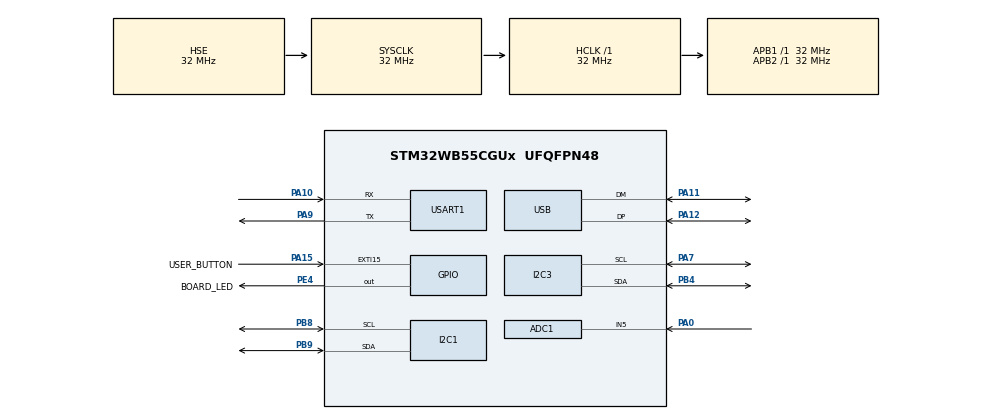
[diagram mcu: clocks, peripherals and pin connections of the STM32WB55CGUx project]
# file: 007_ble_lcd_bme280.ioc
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ADC1.Channel-0\#ChannelRegularConversion=ADC_CHANNEL_5
ADC1.NbrOfConversionFlag=1
ADC1.OffsetNumber-0\#ChannelRegularConversion=ADC_OFFSET_NONE
ADC1.Rank-0\#ChannelRegularConversion=1
ADC1.SamplingTime-0\#ChannelRegularConversion=ADC_SAMPLETIME_2CYCLES_5
ADC1.master=1
Dma.ADC1.0.Direction=DMA_PERIPH_TO_MEMORY
Dma.ADC1.0.EventEnable=DISABLE
Dma.ADC1.0.Instance=DMA1_Channel3
Dma.ADC1.0.MemDataAlignment=DMA_MDATAALIGN_HALFWORD
Dma.ADC1.0.MemInc=DMA_MINC_ENABLE
Dma.ADC1.0.Mode=DMA_CIRCULAR
Dma.ADC1.0.PeriphDataAlignment=DMA_PDATAALIGN_HALFWORD
Dma.ADC1.0.PeriphInc=DMA_PINC_DISABLE
Dma.ADC1.0.Polarity=HAL_DMAMUX_REQ_GEN_RISING
Dma.ADC1.0.Priority=DMA_PRIORITY_LOW
Dma.ADC1.0.RequestNumber=1
Dma.ADC1.0.SignalID=NONE
Dma.ADC1.0.SyncEnable=DISABLE
Dma.ADC1.0.SyncPolarity=HAL_DMAMUX_SYNC_NO_EVENT
Dma.ADC1.0.SyncRequestNumber=1
Dma.ADC1.0.SyncSignalID=NONE
Dma.Request0=ADC1
Dma.Request1=USART1_TX
Dma.USART1_TX.1.Direction=DMA_MEMORY_TO_PERIPH
Dma.USART1_TX.1.EventEnable=DISABLE
Dma.USART1_TX.1.Instance=DMA1_Channel1
Dma.USART1_TX.1.MemDataAlignment=DMA_MDATAALIGN_BYTE
Dma.USART1_TX.1.MemInc=DMA_MINC_ENABLE
Dma.USART1_TX.1.Mode=DMA_NORMAL
Dma.USART1_TX.1.PeriphDataAlignment=DMA_PDATAALIGN_BYTE
Dma.USART1_TX.1.PeriphInc=DMA_PINC_DISABLE
Dma.USART1_TX.1.Polarity=HAL_DMAMUX_REQ_GEN_RISING
Dma.USART1_TX.1.Priority=DMA_PRIORITY_LOW
Dma.USART1_TX.1.RequestNumber=1
Dma.USART1_TX.1.SignalID=NONE
Dma.USART1_TX.1.SyncEnable=DISABLE
Dma.USART1_TX.1.SyncPolarity=HAL_DMAMUX_SYNC_NO_EVENT
Dma.USART1_TX.1.SyncRequestNumber=1
Dma.USART1_TX.1.SyncSignalID=NONE
I2C1.Timing=0x00B07CB4
I2C3.Timing=0x00B07CB4
Mcu.Family=STM32WB
Mcu.Name=STM32WB55CGUx
Mcu.Package=UFQFPN48
NVIC.DMA1_Channel1_IRQn=true\:15\:0\:true\:false\:true\:false\:true\:true
NVIC.DMA1_Channel3_IRQn=true\:0\:0\:false\:false\:true\:false\:true\:true
NVIC.EXTI15_10_IRQn=true\:5\:0\:true\:false\:true\:true\:true\:true
NVIC.HSEM_IRQn=true\:0\:0\:false\:false\:true\:false\:true\:true
NVIC.I2C3_ER_IRQn=true\:0\:0\:false\:false\:true\:true\:true\:true
NVIC.I2C3_EV_IRQn=true\:0\:0\:false\:false\:true\:true\:true\:true
NVIC.IPCC_C1_RX_IRQn=true\:0\:0\:false\:false\:true\:true\:true\:true
NVIC.IPCC_C1_TX_IRQn=true\:0\:0\:false\:false\:true\:true\:true\:true
NVIC.PriorityGroup=NVIC_PRIORITYGROUP_4
NVIC.RTC_WKUP_IRQn=true\:3\:0\:true\:false\:true\:true\:true\:true
NVIC.USART1_IRQn=true\:0\:0\:false\:false\:true\:true\:true\:true
NVIC.USB_LP_IRQn=true\:0\:0\:false\:false\:true\:true\:true\:true
OSC_IN.Mode=HSE-External-Oscillator
OSC_IN.Signal=RCC_OSC_IN
OSC_OUT.Mode=HSE-External-Oscillator
OSC_OUT.Signal=RCC_OSC_OUT
PA0.Signal=ADCx_IN5
PA10.Mode=Asynchronous
PA10.Signal=USART1_RX
PA11.Mode=Device
PA11.Signal=USB_DM
PA12.Mode=Device
PA12.Signal=USB_DP
PA13.Mode=Serial_Wire
PA13.Signal=SYS_JTMS-SWDIO
PA14.Mode=Serial_Wire
PA14.Signal=SYS_JTCK-SWCLK
PA15.GPIO_Label=USER_BUTTON
PA15.GPIO_ModeDefaultEXTI=GPIO_MODE_IT_FALLING
PA15.GPIO_PuPd=GPIO_PULLUP
PA15.Signal=GPXTI15
PA7.Mode=I2C
PA7.Signal=I2C3_SCL
PA9.Mode=Asynchronous
PA9.Signal=USART1_TX
PB4.Mode=I2C
PB4.Signal=I2C3_SDA
PB8.Mode=I2C
PB8.Signal=I2C1_SCL
PB9.Mode=I2C
PB9.Signal=I2C1_SDA
PC14-OSC32_IN.Mode=LSE-External-Oscillator
PC14-OSC32_IN.Signal=RCC_OSC32_IN
PC15-OSC32_OUT.Mode=LSE-External-Oscillator
PC15-OSC32_OUT.Signal=RCC_OSC32_OUT
PE4.GPIO_Label=BOARD_LED
PE4.Signal=GPIO_Output
ProjectManager.HeapSize=0x200
ProjectManager.StackSize=0x400
ProjectManager.TargetToolchain=STM32CubeIDE
RCC.ADCFreq_Value=48000000
RCC.AHBFreq_Value=32000000
RCC.APB1Freq_Value=32000000
RCC.APB1TimFreq_Value=32000000
RCC.APB2Freq_Value=32000000
RCC.APB2TimFreq_Value=32000000
RCC.APB3Freq_Value=16000000
RCC.CK48CLockSelection=RCC_USBCLKSOURCE_HSI48
RCC.CortexFreq_Value=32000000
RCC.HCLKFreq_Value=32000000
RCC.HSE_VALUE=32000000
RCC.HSI48_VALUE=48000000
RCC.HSI_VALUE=16000000
RCC.PLLM=RCC_PLLM_DIV2
RCC.PLLSAI1N=6
RCC.PLLSourceVirtual=RCC_PLLSOURCE_HSE
RCC.RFWKPClockSelection=RCC_RFWKPCLKSOURCE_LSE
RCC.RTCClockSelection=RCC_RTCCLKSOURCE_LSE
RCC.SMPSCLockSelection=RCC_SMPSCLKSOURCE_HSE
RCC.SMPSDivider=4
RCC.SYSCLKFreq_VALUE=32000000
RCC.SYSCLKSource=RCC_SYSCLKSOURCE_HSE
RCC.USBFreq_Value=48000000
RCC.VCOOutputFreq_Value=128000000
RF1.Mode=RF1_Activate
RF1.Signal=RF_RF1
SH.ADCx_IN5.0=ADC1_IN5,IN5-Single-Ended
STM32_WPAN.AD_TYPE_COMPLETE_LOCAL_NAME=WeEnv
STM32_WPAN.AD_TYPE_COMPLETE_LOCAL_NAME_LENGTH=6
STM32_WPAN.CFG_DEBUGGER_SUPPORTED=0
STM32_WPAN.CFG_DEBUG_APP_TRACE=1
STM32_WPAN.CFG_DEBUG_BLE_TRACE=1
STM32_WPAN.CFG_DEBUG_TRACE_FULL=1
STM32_WPAN.CFG_GAP_DEVICE_NAME=WeEnv
STM32_WPAN.CFG_GAP_DEVICE_NAME_LENGTH=5
STM32_WPAN.CFG_HW_USART1_DMA_TX_SUPPORTED=0
STM32_WPAN.CFG_HW_USART1_ENABLED=0
STM32_WPAN.CFG_LPM_SUPPORTED=1
STM32_WPAN.CFG_LSCLK_LSE=0
STM32_WPAN.CUSTOM_P2P_SERVER=Disabled
STM32_WPAN.CUSTOM_TEMPLATE=Enabled
STM32_WPAN.INCLUDE_AD_TYPE_COMPLETE_LOCAL_NAME=1
STM32_WPAN.INCLUDE_AD_TYPE_MANUFACTURER_SPECIFIC_DATA=1
STM32_WPAN.INCLUDE_AD_TYPE_TX_POWER_LEVEL=1
STM32_WPAN.NUMBER_OF_SERVICES=1
STM32_WPAN.PAIRING_PARAMETERS=ON
STM32_WPAN.SERVICE1_CHAR1_GATT_NOTIFY_READ_REQ_AND_WAIT_FOR_APPL_RESP=\ 
STM32_WPAN.SERVICE1_CHAR1_GATT_NOTIFY_WRITE_REQ_AND_WAIT_FOR_APPL_RESP=\ 
STM32_WPAN.SERVICE1_CHAR1_LENGTH_CHARACTERISTIC=CHAR_VALUE_LEN_VARIABLE
STM32_WPAN.SERVICE1_CHAR1_LONG_NAME=bme280_char
STM32_WPAN.SERVICE1_CHAR1_PROP_NOTIFY=CHAR_PROP_NOTIFY
STM32_WPAN.SERVICE1_CHAR1_SHORT_NAME=bme_c
STM32_WPAN.SERVICE1_CHAR1_UUID=FE 41
STM32_WPAN.SERVICE1_LONG_NAME=WB_BME280
STM32_WPAN.SERVICE1_SHORT_NAME=WB
STM32_WPAN.SERVICE1_UUID=FE 40
USART1.VirtualMode-Asynchronous=VM_ASYNC
VP_HSEM_VS_HSEM.Mode=HSEM_Activate
VP_IPCC_VS_IPCC.Mode=IPCC_Activate
VP_MEMORYMAP_VS_MEMORYMAP.Mode=CurAppReg
VP_RTC_VS_RTC_Activate.Mode=RTC_Enabled
VP_RTC_VS_RTC_Calendar.Mode=RTC_Calendar
VP_RTC_VS_RTC_WakeUp_intern.Mode=WakeUp
VP_SEQUENCER_VS_SEQUENCER.Mode=SEQUENCER_Enabled
VP_STM32_WPAN_VS_BLE_HOST.Mode=STM32_WPAN_Enabled
VP_TINY_LPM_VS_TINY_LPM.Mode=TINY_LPM_Enabled
board=custom

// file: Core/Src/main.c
/* USER CODE BEGIN Header */
/**
  ******************************************************************************
  * @file           : main.c
  * @brief          : Main program body
  ******************************************************************************
  * @attention
  *
  * Copyright (c) 2026 STMicroelectronics.
  * All rights reserved.
  *
  * This software is licensed under terms that can be found in the LICENSE file
  * in the root directory of this software component.
  * If no LICENSE file comes with this software, it is provided AS-IS.
  *
  ******************************************************************************
  */
/* USER CODE END Header */
#include "main.h"

/* USER CODE BEGIN Includes */
#include "app_common.h"
#include "app_config.h"
#include "app_display.h"
#include "app_env.h"
#include "bme280_app.h"
#include "display_app.h"
/* USER CODE END Includes */

/* USER CODE BEGIN PD */
/* CFG_TS_TICK_VAL is the timer server tick in microseconds */
#define BUTTON_DEBOUNCE_TICKS  (((uint32_t)BUTTON_DEBOUNCE_MS * 1000U) / CFG_TS_TICK_VAL)

/* USER CODE END PD */

ADC_HandleTypeDef hadc1;
DMA_HandleTypeDef hdma_adc1;

I2C_HandleTypeDef hi2c1;
I2C_HandleTypeDef hi2c3;

IPCC_HandleTypeDef hipcc;

RTC_HandleTypeDef hrtc;

UART_HandleTypeDef huart1;
DMA_HandleTypeDef hdma_usart1_tx;

PCD_HandleTypeDef hpcd_USB_FS;

/* USER CODE BEGIN PV */
#if defined(USER_BUTTON_Pin)
static uint8_t          s_button_ts_id;
static volatile uint8_t s_button_masked;
#endif /* USER_BUTTON_Pin */

/* USER CODE END PV */

void SystemClock_Config(void);
void PeriphCommonClock_Config(void);
static void MX_GPIO_Init(void);
static void MX_DMA_Init(void);
static void MX_I2C1_Init(void);
static void MX_IPCC_Init(void);
static void MX_RTC_Init(void);
static void MX_USART1_UART_Init(void);
static void MX_I2C3_Init(void);
static void MX_ADC1_Init(void);
static void MX_USB_PCD_Init(void);
static void MX_RF_Init(void);
/* USER CODE BEGIN PFP */
#if defined(USER_BUTTON_Pin)
static void button_init(void);
static void button_rearm_cb(void);
#endif /* USER_BUTTON_Pin */

/* USER CODE END PFP */

int main(void)
{

  /* MCU Configuration--------------------------------------------------------*/

  /* Reset of all peripherals, Initializes the Flash interface and the Systick. */
  HAL_Init();
  /* Config code for STM32_WPAN (HSE Tuning must be done before system clock configuration) */
  MX_APPE_Config();

  /* Configure the system clock */
  SystemClock_Config();

  /* Configure the peripherals common clocks */
  PeriphCommonClock_Config();

  /* IPCC initialisation */
  MX_IPCC_Init();

  /* Initialize all configured peripherals */
  MX_GPIO_Init();
  MX_DMA_Init();
  MX_I2C1_Init();
  MX_RTC_Init();
  MX_USART1_UART_Init();
  MX_I2C3_Init();
  MX_ADC1_Init();
  MX_USB_PCD_Init();
  MX_RF_Init();
  /* USER CODE BEGIN 2 */
  /* CLK48 is shared with CPU2: take CFG_HW_CLK48_CONFIG_SEMID before the stack starts */
  LL_HSEM_1StepLock(HSEM, 5);

  /* not fatal: a dead sensor or panel must not stop the BLE stack from coming up */
  (void)DISPLAY_APP_Init();
  (void)BME280_APP_Init();
  /* USER CODE END 2 */

  /* Init code for STM32_WPAN */
  MX_APPE_Init();

  /* Infinite loop */
  /* USER CODE BEGIN WHILE */
  /* the timer server is up only after MX_APPE_Init(), and APP_ENV_Init()
     creates timers, so it has to come after it */
  APP_ENV_Init();
#if defined(USER_BUTTON_Pin)
  button_init();
#endif /* USER_BUTTON_Pin */

  while (1)
  {
    /* USER CODE END WHILE */
    MX_APPE_Process();

    /* USER CODE BEGIN 3 */
    /* deliberately empty: sampling, display and BLE publication are driven by
       RTC timers and the sequencer, so every pass through here ends in
       UTIL_SEQ_Idle() and the application is free to sleep */
  }
  /* USER CODE END 3 */
}

void SystemClock_Config(void)
{
  RCC_OscInitTypeDef RCC_OscInitStruct = {0};
  RCC_ClkInitTypeDef RCC_ClkInitStruct = {0};

  /** Macro to configure the PLL multiplication factor
  */
  __HAL_RCC_PLL_PLLM_CONFIG(RCC_PLLM_DIV2);

  /** Macro to configure the PLL clock source
  */
  __HAL_RCC_PLL_PLLSOURCE_CONFIG(RCC_PLLSOURCE_HSE);

  /** Configure LSE Drive Capability
  */
  HAL_PWR_EnableBkUpAccess();
  __HAL_RCC_LSEDRIVE_CONFIG(RCC_LSEDRIVE_MEDIUMHIGH);

  /** Configure the main internal regulator output voltage
  */
  __HAL_PWR_VOLTAGESCALING_CONFIG(PWR_REGULATOR_VOLTAGE_SCALE1);

  /** Initializes the RCC Oscillators according to the specified parameters
  * in the RCC_OscInitTypeDef structure.
  */
  RCC_OscInitStruct.OscillatorType = RCC_OSCILLATORTYPE_HSI48|RCC_OSCILLATORTYPE_HSI
                              |RCC_OSCILLATORTYPE_HSE|RCC_OSCILLATORTYPE_LSE;
  RCC_OscInitStruct.HSEState = RCC_HSE_ON;
  RCC_OscInitStruct.LSEState = RCC_LSE_ON;
  RCC_OscInitStruct.HSIState = RCC_HSI_ON;
  RCC_OscInitStruct.HSI48State = RCC_HSI48_ON;
  RCC_OscInitStruct.HSICalibrationValue = RCC_HSICALIBRATION_DEFAULT;
  RCC_OscInitStruct.PLL.PLLState = RCC_PLL_NONE;
  if (HAL_RCC_OscConfig(&RCC_OscInitStruct) != HAL_OK)
  {
    Error_Handler();
  }

  /** Configure the SYSCLKSource, HCLK, PCLK1 and PCLK2 clocks dividers
  */
  RCC_ClkInitStruct.ClockType = RCC_CLOCKTYPE_HCLK4|RCC_CLOCKTYPE_HCLK2
                              |RCC_CLOCKTYPE_HCLK|RCC_CLOCKTYPE_SYSCLK
                              |RCC_CLOCKTYPE_PCLK1|RCC_CLOCKTYPE_PCLK2;
  RCC_ClkInitStruct.SYSCLKSource = RCC_SYSCLKSOURCE_HSE;
  RCC_ClkInitStruct.AHBCLKDivider = RCC_SYSCLK_DIV1;
  RCC_ClkInitStruct.APB1CLKDivider = RCC_HCLK_DIV1;
  RCC_ClkInitStruct.APB2CLKDivider = RCC_HCLK_DIV1;
  RCC_ClkInitStruct.AHBCLK2Divider = RCC_SYSCLK_DIV1;
  RCC_ClkInitStruct.AHBCLK4Divider = RCC_SYSCLK_DIV1;

  if (HAL_RCC_ClockConfig(&RCC_ClkInitStruct, FLASH_LATENCY_1) != HAL_OK)
  {
    Error_Handler();
  }
}

void PeriphCommonClock_Config(void)
{
  RCC_PeriphCLKInitTypeDef PeriphClkInitStruct = {0};

  /** Initializes the peripherals clock
  */
  PeriphClkInitStruct.PeriphClockSelection = RCC_PERIPHCLK_SMPS|RCC_PERIPHCLK_RFWAKEUP;
  PeriphClkInitStruct.RFWakeUpClockSelection = RCC_RFWKPCLKSOURCE_LSE;
  PeriphClkInitStruct.SmpsClockSelection = RCC_SMPSCLKSOURCE_HSE;
  PeriphClkInitStruct.SmpsDivSelection = RCC_SMPSCLKDIV_RANGE1;

  if (HAL_RCCEx_PeriphCLKConfig(&PeriphClkInitStruct) != HAL_OK)
  {
    Error_Handler();
  }
}

static void MX_ADC1_Init(void)
{

  ADC_ChannelConfTypeDef sConfig = {0};

  /** Common config
  */
  hadc1.Instance = ADC1;
  hadc1.Init.ClockPrescaler = ADC_CLOCK_ASYNC_DIV1;
  hadc1.Init.Resolution = ADC_RESOLUTION_12B;
  hadc1.Init.DataAlign = ADC_DATAALIGN_RIGHT;
  hadc1.Init.ScanConvMode = ADC_SCAN_DISABLE;
  hadc1.Init.EOCSelection = ADC_EOC_SINGLE_CONV;
  hadc1.Init.LowPowerAutoWait = DISABLE;
  hadc1.Init.ContinuousConvMode = DISABLE;
  hadc1.Init.NbrOfConversion = 1;
  hadc1.Init.DiscontinuousConvMode = DISABLE;
  hadc1.Init.ExternalTrigConv = ADC_SOFTWARE_START;
  hadc1.Init.ExternalTrigConvEdge = ADC_EXTERNALTRIGCONVEDGE_NONE;
  hadc1.Init.DMAContinuousRequests = DISABLE;
  hadc1.Init.Overrun = ADC_OVR_DATA_PRESERVED;
  hadc1.Init.OversamplingMode = DISABLE;
  if (HAL_ADC_Init(&hadc1) != HAL_OK)
  {
    Error_Handler();
  }

  /** Configure Regular Channel
  */
  sConfig.Channel = ADC_CHANNEL_5;
  sConfig.Rank = ADC_REGULAR_RANK_1;
  sConfig.SamplingTime = ADC_SAMPLETIME_2CYCLES_5;
  sConfig.SingleDiff = ADC_SINGLE_ENDED;
  sConfig.OffsetNumber = ADC_OFFSET_NONE;
  sConfig.Offset = 0;
  if (HAL_ADC_ConfigChannel(&hadc1, &sConfig) != HAL_OK)
  {
    Error_Handler();
  }

}

static void MX_I2C1_Init(void)
{

  hi2c1.Instance = I2C1;
  hi2c1.Init.Timing = 0x00B07CB4;
  hi2c1.Init.OwnAddress1 = 0;
  hi2c1.Init.AddressingMode = I2C_ADDRESSINGMODE_7BIT;
  hi2c1.Init.DualAddressMode = I2C_DUALADDRESS_DISABLE;
  hi2c1.Init.OwnAddress2 = 0;
  hi2c1.Init.OwnAddress2Masks = I2C_OA2_NOMASK;
  hi2c1.Init.GeneralCallMode = I2C_GENERALCALL_DISABLE;
  hi2c1.Init.NoStretchMode = I2C_NOSTRETCH_DISABLE;
  if (HAL_I2C_Init(&hi2c1) != HAL_OK)
  {
    Error_Handler();
  }

  /** Configure Analogue filter
  */
  if (HAL_I2CEx_ConfigAnalogFilter(&hi2c1, I2C_ANALOGFILTER_ENABLE) != HAL_OK)
  {
    Error_Handler();
  }

  /** Configure Digital filter
  */
  if (HAL_I2CEx_ConfigDigitalFilter(&hi2c1, 0) != HAL_OK)
  {
    Error_Handler();
  }

}

static void MX_I2C3_Init(void)
{

  hi2c3.Instance = I2C3;
  hi2c3.Init.Timing = 0x00B07CB4;
  hi2c3.Init.OwnAddress1 = 0;
  hi2c3.Init.AddressingMode = I2C_ADDRESSINGMODE_7BIT;
  hi2c3.Init.DualAddressMode = I2C_DUALADDRESS_DISABLE;
  hi2c3.Init.OwnAddress2 = 0;
  hi2c3.Init.OwnAddress2Masks = I2C_OA2_NOMASK;
  hi2c3.Init.GeneralCallMode = I2C_GENERALCALL_DISABLE;
  hi2c3.Init.NoStretchMode = I2C_NOSTRETCH_DISABLE;
  if (HAL_I2C_Init(&hi2c3) != HAL_OK)
  {
    Error_Handler();
  }

  /** Configure Analogue filter
  */
  if (HAL_I2CEx_ConfigAnalogFilter(&hi2c3, I2C_ANALOGFILTER_ENABLE) != HAL_OK)
  {
    Error_Handler();
  }

  /** Configure Digital filter
  */
  if (HAL_I2CEx_ConfigDigitalFilter(&hi2c3, 0) != HAL_OK)
  {
    Error_Handler();
  }

}

static void MX_IPCC_Init(void)
{

  hipcc.Instance = IPCC;
  if (HAL_IPCC_Init(&hipcc) != HAL_OK)
  {
    Error_Handler();
  }

}

static void MX_RF_Init(void)
{

}

static void MX_RTC_Init(void)
{

  RTC_TimeTypeDef sTime = {0};
  RTC_DateTypeDef sDate = {0};

  /** Initialize RTC Only
  */
  hrtc.Instance = RTC;
  hrtc.Init.HourFormat = RTC_HOURFORMAT_24;
  hrtc.Init.AsynchPrediv = CFG_RTC_ASYNCH_PRESCALER;
  hrtc.Init.SynchPrediv = CFG_RTC_SYNCH_PRESCALER;
  hrtc.Init.OutPut = RTC_OUTPUT_DISABLE;
  hrtc.Init.OutPutPolarity = RTC_OUTPUT_POLARITY_HIGH;
  hrtc.Init.OutPutType = RTC_OUTPUT_TYPE_OPENDRAIN;
  hrtc.Init.OutPutRemap = RTC_OUTPUT_REMAP_NONE;
  if (HAL_RTC_Init(&hrtc) != HAL_OK)
  {
    Error_Handler();
  }

  /** Initialize RTC and set the Time and Date
  */
  sTime.Hours = 0x0;
  sTime.Minutes = 0x0;
  sTime.Seconds = 0x0;
  sTime.SubSeconds = 0x0;
  sTime.DayLightSaving = RTC_DAYLIGHTSAVING_NONE;
  sTime.StoreOperation = RTC_STOREOPERATION_RESET;
  if (HAL_RTC_SetTime(&hrtc, &sTime, RTC_FORMAT_BCD) != HAL_OK)
  {
    Error_Handler();
  }
  sDate.WeekDay = RTC_WEEKDAY_MONDAY;
  sDate.Month = RTC_MONTH_JANUARY;
  sDate.Date = 0x1;
  sDate.Year = 0x0;

  if (HAL_RTC_SetDate(&hrtc, &sDate, RTC_FORMAT_BCD) != HAL_OK)
  {
    Error_Handler();
  }

  /** Enable the WakeUp
  */
  if (HAL_RTCEx_SetWakeUpTimer_IT(&hrtc, 0, RTC_WAKEUPCLOCK_RTCCLK_DIV16) != HAL_OK)
  {
    Error_Handler();
  }

}

static void MX_USART1_UART_Init(void)
{

  huart1.Instance = USART1;
  huart1.Init.BaudRate = 115200;
  huart1.Init.WordLength = UART_WORDLENGTH_8B;
  huart1.Init.StopBits = UART_STOPBITS_1;
  huart1.Init.Parity = UART_PARITY_NONE;
  huart1.Init.Mode = UART_MODE_TX_RX;
  huart1.Init.HwFlowCtl = UART_HWCONTROL_NONE;
  huart1.Init.OverSampling = UART_OVERSAMPLING_8;
  huart1.Init.OneBitSampling = UART_ONE_BIT_SAMPLE_DISABLE;
  huart1.Init.ClockPrescaler = UART_PRESCALER_DIV1;
  huart1.AdvancedInit.AdvFeatureInit = UART_ADVFEATURE_NO_INIT;
  if (HAL_UART_Init(&huart1) != HAL_OK)
  {
    Error_Handler();
  }
  if (HAL_UARTEx_SetTxFifoThreshold(&huart1, UART_TXFIFO_THRESHOLD_1_8) != HAL_OK)
  {
    Error_Handler();
  }
  if (HAL_UARTEx_SetRxFifoThreshold(&huart1, UART_RXFIFO_THRESHOLD_1_8) != HAL_OK)
  {
    Error_Handler();
  }
  if (HAL_UARTEx_DisableFifoMode(&huart1) != HAL_OK)
  {
    Error_Handler();
  }

}

static void MX_USB_PCD_Init(void)
{

  hpcd_USB_FS.Instance = USB;
  hpcd_USB_FS.Init.dev_endpoints = 8;
  hpcd_USB_FS.Init.speed = PCD_SPEED_FULL;
  hpcd_USB_FS.Init.phy_itface = PCD_PHY_EMBEDDED;
  hpcd_USB_FS.Init.Sof_enable = DISABLE;
  hpcd_USB_FS.Init.low_power_enable = DISABLE;
  hpcd_USB_FS.Init.lpm_enable = DISABLE;
  hpcd_USB_FS.Init.battery_charging_enable = DISABLE;
  if (HAL_PCD_Init(&hpcd_USB_FS) != HAL_OK)
  {
    Error_Handler();
  }

}

static void MX_DMA_Init(void)
{

  /* DMA controller clock enable */
  __HAL_RCC_DMAMUX1_CLK_ENABLE();
  __HAL_RCC_DMA1_CLK_ENABLE();

  /* DMA interrupt init */
  /* DMA1_Channel1_IRQn interrupt configuration */
  HAL_NVIC_SetPriority(DMA1_Channel1_IRQn, 15, 0);
  HAL_NVIC_EnableIRQ(DMA1_Channel1_IRQn);
  /* DMA1_Channel3_IRQn interrupt configuration */
  HAL_NVIC_SetPriority(DMA1_Channel3_IRQn, 0, 0);
  HAL_NVIC_EnableIRQ(DMA1_Channel3_IRQn);

}

static void MX_GPIO_Init(void)
{
  GPIO_InitTypeDef GPIO_InitStruct = {0};

  /* GPIO Ports Clock Enable */
  __HAL_RCC_GPIOC_CLK_ENABLE();
  __HAL_RCC_GPIOB_CLK_ENABLE();
  __HAL_RCC_GPIOA_CLK_ENABLE();
  __HAL_RCC_GPIOE_CLK_ENABLE();

  /*Configure GPIO pin Output Level */
  HAL_GPIO_WritePin(BOARD_LED_GPIO_Port, BOARD_LED_Pin, GPIO_PIN_RESET);

  /*Configure GPIO pin : BOARD_LED_Pin */
  GPIO_InitStruct.Pin = BOARD_LED_Pin;
  GPIO_InitStruct.Mode = GPIO_MODE_OUTPUT_PP;
  GPIO_InitStruct.Pull = GPIO_NOPULL;
  GPIO_InitStruct.Speed = GPIO_SPEED_FREQ_LOW;
  HAL_GPIO_Init(BOARD_LED_GPIO_Port, &GPIO_InitStruct);

  /*Configure GPIO pin : USER_BUTTON_Pin */
  GPIO_InitStruct.Pin = USER_BUTTON_Pin;
  GPIO_InitStruct.Mode = GPIO_MODE_IT_FALLING;
  GPIO_InitStruct.Pull = GPIO_PULLUP;
  HAL_GPIO_Init(USER_BUTTON_GPIO_Port, &GPIO_InitStruct);

  /* EXTI interrupt init*/
  HAL_NVIC_SetPriority(EXTI15_10_IRQn, 5, 0);
  HAL_NVIC_EnableIRQ(EXTI15_10_IRQn);

}

/* USER CODE BEGIN 4 */
#if defined(USER_BUTTON_Pin)
/**
  * @brief  re-arm the button EXTI line once the debounce window has elapsed
  * @note   runs in the RTC wakeup ISR; register writes only
  */
static void button_rearm_cb(void)
{
  __HAL_GPIO_EXTI_CLEAR_IT(USER_BUTTON_Pin);
  HAL_NVIC_ClearPendingIRQ(USER_BUTTON_EXTI_IRQn);
  s_button_masked = 0U;
  HAL_NVIC_EnableIRQ(USER_BUTTON_EXTI_IRQn);
}

/**
  * @brief  create the button debounce timer
  * @note   must be called after MX_APPE_Init(), the timer server is up only then
  */
static void button_init(void)
{
  (void)HW_TS_Create(CFG_TIM_PROC_ID_ISR, &s_button_ts_id, hw_ts_SingleShot, button_rearm_cb);
}

/**
  * @brief  user button EXTI callback
  * @note   ISR responsibilities stop at debouncing and waking the application:
  *         no I2C, no panel and no BLE work happens here
  */
void HAL_GPIO_EXTI_Callback(uint16_t GPIO_Pin)
{
  if (GPIO_Pin != USER_BUTTON_Pin)
  {
    return;
  }

  if (s_button_masked != 0U)
  {
    return;
  }

  /* SysTick is suspended in STOP2, so HAL_GetTick() cannot time the debounce.
     Mask the line instead and let the RTC-backed timer server re-arm it */
  s_button_masked = 1U;
  HAL_NVIC_DisableIRQ(USER_BUTTON_EXTI_IRQn);
  HW_TS_Start(s_button_ts_id, BUTTON_DEBOUNCE_TICKS);

  APP_ENV_OnUserInteraction();
}
#endif /* USER_BUTTON_Pin */

/* USER CODE END 4 */

void Error_Handler(void)
{
  __disable_irq();
  while (1)
  {
  }
}
